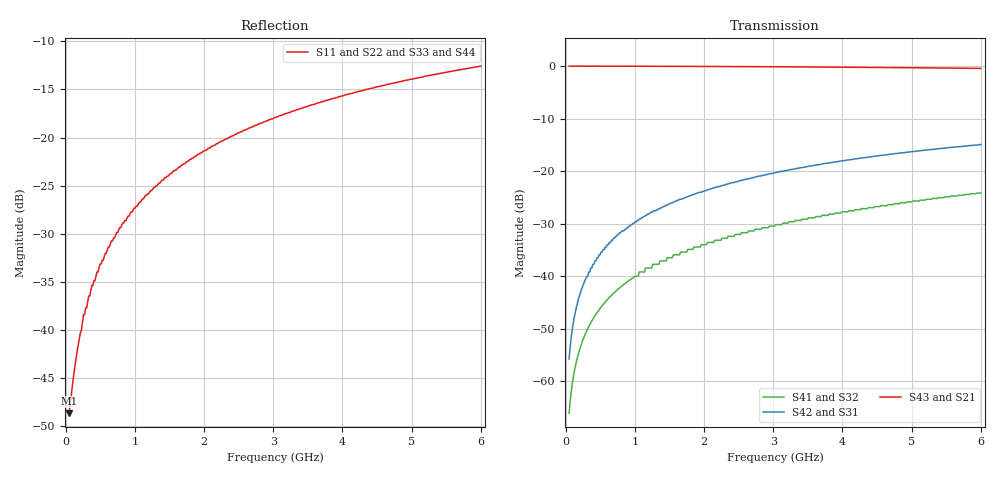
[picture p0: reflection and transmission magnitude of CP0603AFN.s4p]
!	AVX THIN FILM OPERATION
!	CP0603 HIGH DIRECTIVITY COUPLERS
!	P/N CP0603AxxxxFLTR
!	Network	Analyzer HP8720ES.07.64:Feb23,2000 Serial No.US39172382
!	Hewlett-Packard
!	24 July 2003	02:45:57
# MHZ S MA R 50
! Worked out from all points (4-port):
!   400 points, 50 MHz to 6 GHz, reference 50 ohm
!   strongest paths, dB at 50 MHz, 1.541 GHz, 3.032 GHz, 4.524 GHz, 6 GHz:
!     S43: 0.0, -0.1, -0.1, -0.3, -0.4
!     S21: 0.0, -0.1, -0.1, -0.3, -0.4
!     S42: -55.7, -26.0, -20.3, -17.1, -14.9
!     S31: -55.7, -26.0, -20.3, -17.1, -14.9
!     S41: -66.1, -36.5, -30.2, -26.7, -24.2
!     S32: -66.1, -36.5, -30.2, -26.7, -24.2
!   lowest |S11| = -48.7 dB at 50 MHz (marker M1), VSWR 1.01, Z = 50.3 - j0.217 ohm
!   |S11| at or under -10 dB: start of sweep to end of sweep
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50  0.003682 -36.0  0.997 -0.2  0.001639 89.8  0.0004976 89.5
    0.997 -0.2  0.003682 -36.0  0.0004976 89.5  0.001639 89.8
    0.001639 89.8  0.0004976 89.5  0.003682 -36.0  0.997 -0.2
    0.0004976 89.5  0.001639 89.8  0.997 -0.2  0.003682 -36.0
154.386  0.007281 -66.4  0.997 -0.6  0.005059 89.3  0.001537 88.1
         0.997 -0.6  0.007281 -66.4  0.001537 88.1  0.005059 89.3
         0.005059 89.3  0.001537 88.1  0.007281 -66.4  0.997 -0.6
         0.001537 88.1  0.005059 89.3  0.997 -0.6  0.007281 -66.4
363.158  0.016 -80.7  0.997 -1.4  0.012 88.3  0.003615 85.6
         0.997 -1.4  0.016 -80.7  0.003615 85.6  0.012 88.3
         0.012 88.3  0.003615 85.6  0.016 -80.7  0.997 -1.4
         0.003615 85.6  0.012 88.3  0.997 -1.4  0.016 -80.7
691.228  0.03 -87.2  0.996 -2.6  0.023 86.9  0.006885 81.7
         0.996 -2.6  0.03 -87.2  0.006885 81.7  0.023 86.9
         0.023 86.9  0.006885 81.7  0.03 -87.2  0.996 -2.6
         0.006885 81.7  0.023 86.9  0.996 -2.6  0.03 -87.2
1153.509  0.05 -91.4  0.995 -4.3  0.038 84.8  0.012 76.2
          0.995 -4.3  0.05 -91.4  0.012 76.2  0.038 84.8
          0.038 84.8  0.012 76.2  0.05 -91.4  0.995 -4.3
          0.012 76.2  0.038 84.8  0.995 -4.3  0.05 -91.4
2957.895  0.124 -100.8  0.984 -10.9  0.095 77.0  0.03 55.2
          0.984 -10.9  0.124 -100.8  0.03 55.2  0.095 77.0
          0.095 77.0  0.03 55.2  0.124 -100.8  0.984 -10.9
          0.03 55.2  0.095 77.0  0.984 -10.9  0.124 -100.8
6000  0.235 -112.9  0.95 -21.4  0.179 64.9  0.062 22.8
      0.95 -21.4  0.235 -112.9  0.062 22.8  0.179 64.9
      0.179 64.9  0.062 22.8  0.235 -112.9  0.95 -21.4
      0.062 22.8  0.179 64.9  0.95 -21.4  0.235 -112.9
